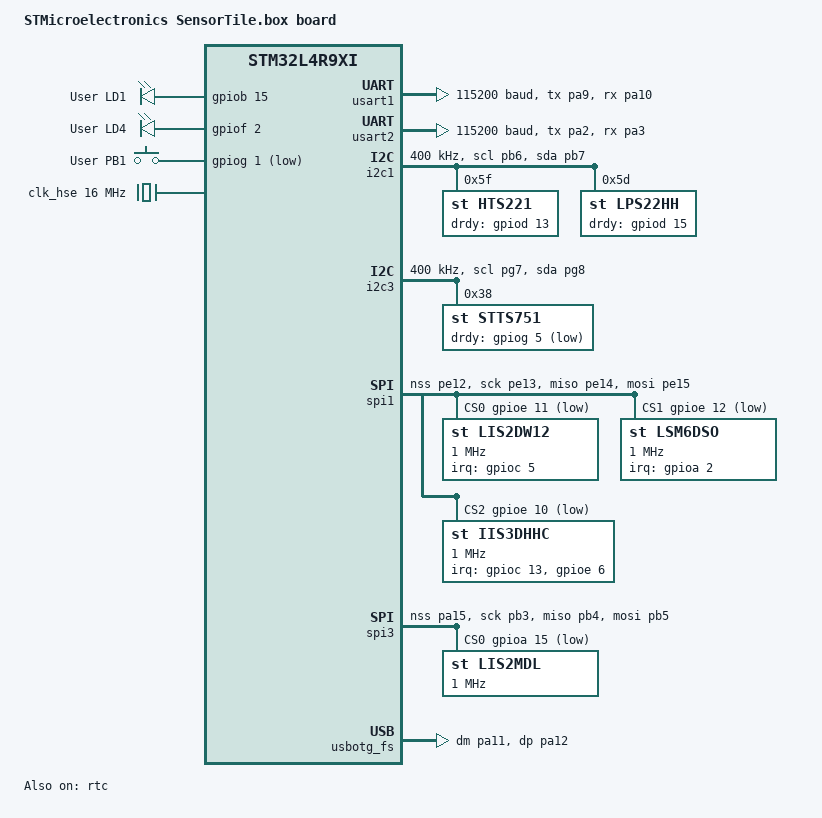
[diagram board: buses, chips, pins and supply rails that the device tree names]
/*
 * Copyright (c) 2019 STMicroelectronics
 *
 * SPDX-License-Identifier: Apache-2.0
 */

/dts-v1/;
#include <st/l4/stm32l4r9Xi.dtsi>
#include <st/l4/stm32l4r9z(g-i)tx-pinctrl.dtsi>

/ {
	model = "STMicroelectronics SensorTile.box board";
	compatible = "st,sensortile-box";

	chosen {
		zephyr,console = &usart1;
		zephyr,shell-uart = &usart1;
		zephyr,sram = &sram0;
		zephyr,flash = &flash0;
	};

	leds {
		compatible = "gpio-leds";
		blue_led: led {
			gpios = <&gpiob 15 GPIO_ACTIVE_HIGH>;
			label = "User LD1";
		};

		green_led: led_2 {
			gpios = <&gpiof 2 GPIO_ACTIVE_HIGH>;
			label = "User LD4";
		};
	};

	gpio_keys {
		compatible = "gpio-keys";
		user_button: button {
			label = "User PB1";
			gpios = <&gpiog 1 GPIO_ACTIVE_LOW>;
		};
	};

	aliases {
		led0 = &blue_led;
		led1 = &green_led;
		sw0 = &user_button;
		magn0 = &lis2mdl;
		accel0 = &lis2dw12;
		accel1 = &lsm6dso;
		accel2 = &iis3dhhc;
	};
};

&clk_hse {
	clock-frequency = <DT_FREQ_M(16)>;
	status = "okay";
};

&pll {
	div-m = <4>;
	mul-n = <40>;
	div-p = <7>;
	div-q = <2>;
	div-r = <2>;
	clocks = <&clk_hse>;
	status = "okay";
};

&rcc {
	clocks = <&pll>;
	clock-frequency = <DT_FREQ_M(80)>;
	ahb-prescaler = <1>;
	apb1-prescaler = <1>;
	apb2-prescaler = <1>;
};

&usart1 {
	pinctrl-0 = <&usart1_tx_pa9 &usart1_rx_pa10>;
	pinctrl-names = "default";
	current-speed = <115200>;
	status = "okay";
};

&usart2 {
	pinctrl-0 = <&usart2_tx_pa2 &usart2_rx_pa3>;
	pinctrl-names = "default";
	current-speed = <115200>;
	status = "okay";
};

&i2c1 {
	pinctrl-0 = <&i2c1_scl_pb6 &i2c1_sda_pb7>;
	pinctrl-names = "default";
	status = "okay";
	clock-frequency = <I2C_BITRATE_FAST>;

	hts221@5f {
		compatible = "st,hts221";
		reg = <0x5f>;
		drdy-gpios = <&gpiod 13 GPIO_ACTIVE_HIGH>;
	};

	lps22hh@5d {
		compatible = "st,lps22hh";
		reg = <0x5d>;
		drdy-gpios = <&gpiod 15 GPIO_ACTIVE_HIGH>;
	};
};

&i2c3 {
	pinctrl-0 = <&i2c3_scl_pg7 &i2c3_sda_pg8>;
	pinctrl-names = "default";
	status = "okay";
	clock-frequency = <I2C_BITRATE_FAST>;

	stts751@38 {
		compatible = "st,stts751";
		reg = <0x38>;
		drdy-gpios = <&gpiog 5 GPIO_ACTIVE_LOW>;
	};
};

&spi1 {
	pinctrl-0 = <&spi1_nss_pe12 &spi1_sck_pe13
		     &spi1_miso_pe14 &spi1_mosi_pe15>;
	pinctrl-names = "default";
	status = "okay";

	cs-gpios = <&gpioe 11 GPIO_ACTIVE_LOW>, <&gpioe 12 GPIO_ACTIVE_LOW>, <&gpioe 10 GPIO_ACTIVE_LOW>;

	lis2dw12: lis2dw12@0 {
		compatible = "st,lis2dw12";
		spi-max-frequency = <1000000>;
		reg = <0>;
		irq-gpios = <&gpioc 5 GPIO_ACTIVE_HIGH>;
	};

	lsm6dso: lsm6dso@1 {
		compatible = "st,lsm6dso";
		spi-max-frequency = <1000000>;
		reg = <1>;
		irq-gpios = <&gpioa 2 GPIO_ACTIVE_HIGH>;
		int-pin = <1>;
	};

	iis3dhhc: iis3dhhc@2 {
		compatible = "st,iis3dhhc";
		spi-max-frequency = <1000000>;
		reg = <2>;
		irq-gpios = <&gpioc 13 GPIO_ACTIVE_HIGH>, <&gpioe 6 GPIO_ACTIVE_HIGH>;
	};
};

&spi3 {
	pinctrl-0 = <&spi3_nss_pa15 &spi3_sck_pb3
		     &spi3_miso_pb4 &spi3_mosi_pb5>;
	pinctrl-names = "default";
	status = "okay";

	cs-gpios = <&gpioa 15 GPIO_ACTIVE_LOW>;

	lis2mdl: lis2mdl@0 {
		compatible = "st,lis2mdl";
		spi-max-frequency = <1000000>;
		spi-full-duplex;
		reg = <0>;
	};
};

zephyr_udc0: &usbotg_fs {
	pinctrl-0 = <&usb_otg_fs_dm_pa11 &usb_otg_fs_dp_pa12>;
	pinctrl-names = "default";
	status = "okay";
};

&rtc {
	status = "okay";
};

&flash0 {

	partitions {
		compatible = "fixed-partitions";
		#address-cells = <1>;
		#size-cells = <1>;

		boot_partition: partition@0 {
			label = "mcuboot";
			reg = <0x00000000 DT_SIZE_K(64)>;
			read-only;
		};

		/*
		 * The flash starting at offset 0x10000 and ending at
		 * offset 0x1ffff is reserved for use by the application.
		 */

		slot0_partition: partition@20000 {
			label = "image-0";
			reg = <0x00020000 DT_SIZE_K(432)>;
		};
		slot1_partition: partition@8c000 {
			label = "image-1";
			reg = <0x0008C000 DT_SIZE_K(432)>;
		};
		scratch_partition: partition@f8000 {
			label = "image-scratch";
			reg = <0x000F8000 DT_SIZE_K(24)>;
		};

		storage_partition: partition@fc000 {
			label = "storage";
			reg = <0x000fc000 DT_SIZE_K(24)>;
		};
	};
};
